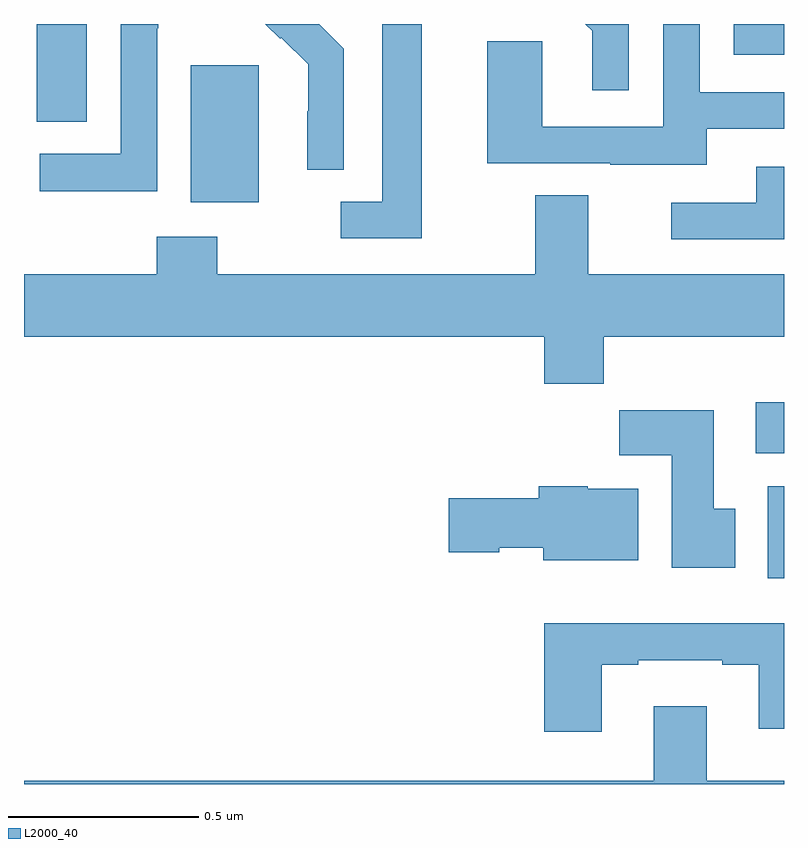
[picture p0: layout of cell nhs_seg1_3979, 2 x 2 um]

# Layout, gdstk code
import gdstk
lib = gdstk.Library(unit=1e-6, precision=1e-09)
def R(c, l, rs):  # rectangles x0, y0, x1, y1
    for r in rs: c.add(gdstk.rectangle(r[:2], r[2:], *l))
def P(c, l, *ps):  # polygons
    for p in ps: c.add(gdstk.Polygon(p, *l))
L2000_40 = (2000, 40)

nhs_seg1_3979 = lib.new_cell('nhs_seg1_3979')
R(nhs_seg1_3979, L2000_40, [(161.957,573.74,162,573.982), (161.925,574.07,162,574.204), (160.439,574.73,160.618,575.091), (160.034,574.942,160.165,575.199), (161.868,575.118,162,575.199)])
P(nhs_seg1_3979, L2000_40, [(160.842,575.134),(160.777,575.199),(160.635,575.199),(160.674,575.16),(160.677,575.163),(160.748,575.093),(160.748,574.97),(160.746,574.97),(160.746,574.816),(160.842,574.816)],
  [(160.35,575.188),(160.353,575.188),(160.353,575.199),(160.254,575.199),(160.254,574.857),(160.041,574.857),(160.041,574.759),(160.35,574.759)],
  [(161.797,574.923),(162,574.923),(162,575.019),(161.778,575.019),(161.778,575.199),(161.682,575.199),(161.682,574.929),(161.364,574.929),(161.364,575.153),(161.219,575.153),(161.219,574.833),(161.543,574.833),(161.543,574.829),(161.797,574.829)],
  [(161.047,575.199),(160.943,575.199),(160.943,574.731),(160.833,574.731),(160.833,574.635),(161.047,574.635)],
  [(161.592,575.199),(161.477,575.199),(161.495,575.181),(161.495,575.025),(161.592,575.025)],
  [(162,574.824),(161.927,574.824),(161.927,574.728),(161.703,574.728),(161.703,574.632),(162,574.632)],
  [(161.525,574.376),(162,574.376),(162,574.54),(161.485,574.54),(161.485,574.748),(161.345,574.748),(161.345,574.54),(160.509,574.54),(160.509,574.639),(160.349,574.639),(160.349,574.54),(160,574.54),(160,574.376),(161.369,574.376),(161.369,574.252),(161.525,574.252)],
  [(161.872,573.924),(161.815,573.924),(161.815,574.183),(161.566,574.183),(161.566,574.064),(161.705,574.064),(161.705,573.768),(161.872,573.768)],
  [(161.617,573.976),(161.484,573.976),(161.484,573.982),(161.354,573.982),(161.354,573.951),(161.118,573.951),(161.118,573.809),(161.25,573.809),(161.25,573.821),(161.366,573.821),(161.366,573.788),(161.617,573.788)],
  [(161.521,573.513),(161.617,573.513),(161.617,573.525),(161.837,573.525),(161.837,573.513),(161.933,573.513),(161.933,573.344),(162,573.344),(162,573.622),(161.369,573.622),(161.369,573.336),(161.521,573.336)],
  [(162,573.208),(161.797,573.208),(161.797,573.403),(161.657,573.403),(161.657,573.208),(160,573.208),(160,573.199),(162,573.199)])

lib.write_gds('nhs_seg1_3979.gds')
